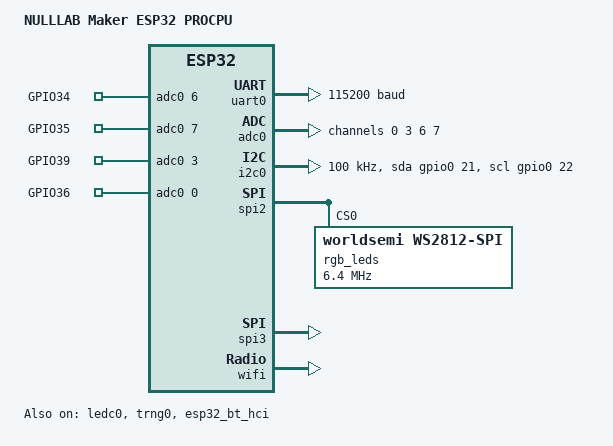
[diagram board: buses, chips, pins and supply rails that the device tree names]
/*
 * Copyright (c) 2026 Grippy98
 *
 * SPDX-License-Identifier: Apache-2.0
 */
/dts-v1/;

#include <espressif/esp32/esp32_wroom_32ue_n4.dtsi>
#include "maker_esp32-pinctrl.dtsi"
#include <zephyr/dt-bindings/led/led.h>
#include <espressif/partitions_0x1000_amp.dtsi>

/ {
	model = "NULLLAB Maker ESP32 PROCPU";
	compatible = "nulllab,maker-esp32", "espressif,esp32-wroom-32e",
		     "espressif,esp32";

	aliases {
		uart-0 = &uart0;
		i2c-0 = &i2c0;
		spi-0 = &spi3;
		pwm-0 = &ledc0;
		adc0 = &adc0;
		led-strip = &rgb_leds;
		watchdog0 = &wdt0;
	};

	chosen {
		zephyr,sram = &sram1;
		zephyr,console = &uart0;
		zephyr,shell-uart = &uart0;
		zephyr,flash = &flash0;
		zephyr,code-partition = &slot0_partition;
		zephyr,bt-hci = &esp32_bt_hci;
	};

	zephyr,user {
		io-channels = <&adc0 6>, <&adc0 7>, <&adc0 3>, <&adc0 0>;
		io-channel-names = "GPIO34", "GPIO35", "GPIO39", "GPIO36";
	};
};

&uart0 {
	status = "okay";
	current-speed = <115200>;
	pinctrl-0 = <&uart0_default>;
	pinctrl-names = "default";
};

&gpio0 {
	status = "okay";
};

&gpio1 {
	status = "okay";
};

&adc0 {
	status = "okay";
	#address-cells = <1>;
	#size-cells = <0>;

	channel@0 {
		reg = <0>;
		zephyr,gain = "ADC_GAIN_1_4";
		zephyr,reference = "ADC_REF_INTERNAL";
		zephyr,acquisition-time = <ADC_ACQ_TIME_DEFAULT>;
		zephyr,resolution = <12>;
	};

	channel@3 {
		reg = <3>;
		zephyr,gain = "ADC_GAIN_1_4";
		zephyr,reference = "ADC_REF_INTERNAL";
		zephyr,acquisition-time = <ADC_ACQ_TIME_DEFAULT>;
		zephyr,resolution = <12>;
	};

	channel@6 {
		reg = <6>;
		zephyr,gain = "ADC_GAIN_1_4";
		zephyr,reference = "ADC_REF_INTERNAL";
		zephyr,acquisition-time = <ADC_ACQ_TIME_DEFAULT>;
		zephyr,resolution = <12>;
	};

	channel@7 {
		reg = <7>;
		zephyr,gain = "ADC_GAIN_1_4";
		zephyr,reference = "ADC_REF_INTERNAL";
		zephyr,acquisition-time = <ADC_ACQ_TIME_DEFAULT>;
		zephyr,resolution = <12>;
	};
};

&i2c0 {
	status = "okay";
	clock-frequency = <I2C_BITRATE_STANDARD>;
	sda-gpios = <&gpio0 21 GPIO_OPEN_DRAIN>;
	scl-gpios = <&gpio0 22 GPIO_OPEN_DRAIN>;
	pinctrl-0 = <&i2c0_default>;
	pinctrl-names = "default";
};

&spi2 {
	#address-cells = <1>;
	#size-cells = <0>;
	status = "okay";
	line-idle-low;
	pinctrl-0 = <&spim2_ws2812>;
	pinctrl-names = "default";

	rgb_leds: ws2812@0 {
		compatible = "worldsemi,ws2812-spi";
		reg = <0>;
		spi-max-frequency = <6400000>;
		chain-length = <4>;
		spi-one-frame = <0xfc>;
		spi-zero-frame = <0xc0>;
		color-mapping = <LED_COLOR_ID_GREEN
				 LED_COLOR_ID_RED
				 LED_COLOR_ID_BLUE>;
	};
};

&spi3 {
	#address-cells = <1>;
	#size-cells = <0>;
	status = "okay";
	pinctrl-0 = <&spim3_default>;
	pinctrl-names = "default";
};

&ledc0 {
	#address-cells = <1>;
	#size-cells = <0>;
	status = "okay";
	pinctrl-0 = <&ledc0_default>;
	pinctrl-names = "default";

	motor_m1a_pwm: channel@0 {
		reg = <0>;
		timer = <0>;
	};

	motor_m1b_pwm: channel@1 {
		reg = <1>;
		timer = <0>;
	};

	motor_m2a_pwm: channel@2 {
		reg = <2>;
		timer = <0>;
	};

	motor_m2b_pwm: channel@3 {
		reg = <3>;
		timer = <0>;
	};

	motor_m3a_pwm: channel@4 {
		reg = <4>;
		timer = <0>;
	};

	motor_m3b_pwm: channel@5 {
		reg = <5>;
		timer = <0>;
	};

	motor_m4a_pwm: channel@6 {
		reg = <6>;
		timer = <0>;
	};

	motor_m4b_pwm: channel@7 {
		reg = <7>;
		timer = <0>;
	};

	servo1_pwm: channel@8 {
		reg = <8>;
		timer = <0>;
	};

	servo2_pwm: channel@9 {
		reg = <9>;
		timer = <0>;
	};

	servo3_pwm: channel@a {
		reg = <10>;
		timer = <0>;
	};

	servo4_pwm: channel@b {
		reg = <11>;
		timer = <0>;
	};
};

&trng0 {
	status = "okay";
};

&esp32_bt_hci {
	status = "okay";
};

&wifi {
	status = "okay";
};
